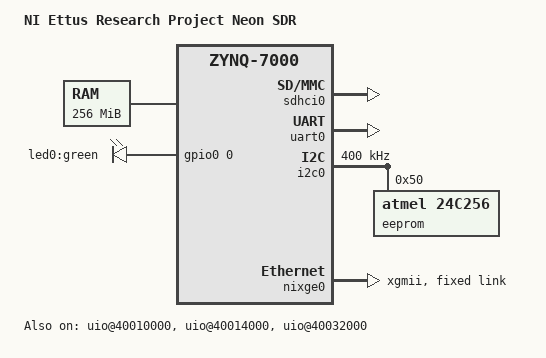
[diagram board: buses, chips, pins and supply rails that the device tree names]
// SPDX-License-Identifier: (GPL-2.0 OR X11)
/*
 * National Instruments Ettus Research Project Neon Rev1
 *
 * Copyright (c) 2018 National Instruments Corp.
 *
 */

/dts-v1/;

#include <dt-bindings/input/input.h>
#include <dt-bindings/interrupt-controller/irq.h>
#include <dt-bindings/gpio/gpio.h>
#include "zynq-7000.dtsi"

/ {
	model = "NI Ettus Research Project Neon SDR";
	compatible = "ettus,zynq-neon-rev1", "xlnx,zynq-7000";

	aliases {
		// ethernet0 = &gem0;
		serial0 = &uart0;
		spi0 = &spi0;
		i2c0 = &i2c0;
	};

	memory {
		device_type = "memory";
		reg = <0x0 0x10000000>;
	};

	chosen {
		stdout-path = "serial0:115200n8";
	};


	leds {
		compatible = "gpio-leds";
		led0 {
			label = "led0:green";
			gpios = <&gpio0 0 0>;
			linux,default-trigger = "heartbeat";
		};
	};


};

&cpu0 {
	operating-points = <1000000 1000000>;
};

&sdhci0 {
	status = "okay";
};

&uart0 {
	status = "okay";
};


&i2c0 {
	status = "okay";
	clock-frequency = <400000>;

	eeprom@50 {
		compatible = "atmel,24c256";
		reg = <0x50>;
	};

};

&gpio0 {
	status = "okay";
};

&clkc {
	ps-clk-frequency = <33333333>;
	fclk-enable = <0xf>;
};


&amba {
	ocm: sram@fffc0000 {
		compatible = "mmio-sram";
		reg = <0xfffc0000 0x10000>;
	};
};


&fpga_full {
	uio@40010000 {
		compatible = "usrp-uio";
		reg = <0x40010000 0x2000>;
		reg-names = "mboard-regs";
		status = "okay";
	};

	uio@40014000 {
		compatible = "usrp-uio";
		reg = <0x40014000 0x4000>;
		reg-names = "dboard-regs";
		status = "okay";
	};


	uio@40032000 {
		compatible = "usrp-uio";
		reg = <0x40032000 0x2000>;
		reg-names = "misc-enet-int-regs";
		status = "okay";
	};



	nixge0: ethernet@40000000 {
		compatible = "ni,xge-enet-2.00";
		reg = <0x40000000 0x8000>; //FIXME

		clocks = <&clkc 15>;
		clock-names = "bus_clk";

		interrupts = <0 29 4>, <0 30 4>;
		interrupt-names = "rx", "tx";
		interrupt-parent = <&intc>;
		status = "okay";

		phy-mode = "xgmii";
	
		fixed-link {
			speed = <1000>;
			full-duplex;
			/* 114 = 54 (MIOs) + 60 (EMIO 60) */
			link-gpios = <&gpio0 114 0>;
		};
	};

	// uio@40006000 {
	// 	compatible = "usrp-uio";
	// 	reg = <0x40006000 0x2000>; //FIXME
	// 	reg-names = "misc-enet-regs";
	// 	status = "okay";
	// };
};
